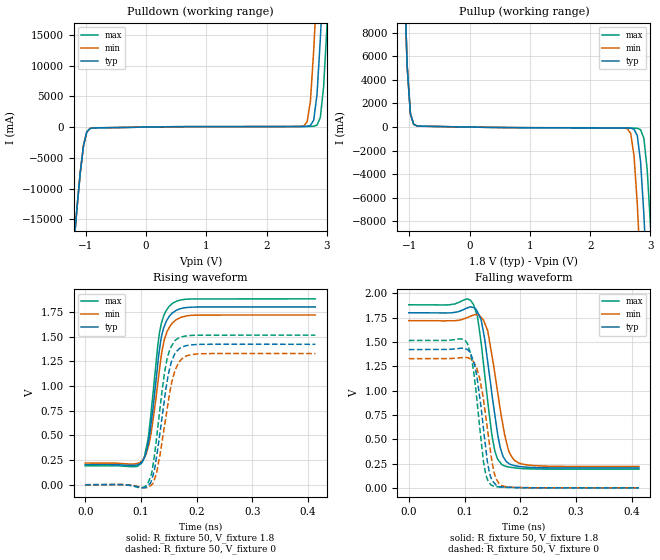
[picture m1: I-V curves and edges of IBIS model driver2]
| IBIS file invchain_stage4_tr20ps.ibs created by PYS2IBIS3
| Missouri S&T EMC Lab
[IBIS Ver] 7.1
[File Name] invchain_stage4_tr20ps.ibs
[File Rev] 1.0
[Date] Jul 27, 2026
[Source] inv_chain variant 'stage4' -- four stages, same final drive
[Notes] Parameter selection; sim_time=4.129e-10, tr=tf=2.000e-11.
[Component] invchain
[Manufacturer] s2ibispy study
[Package]
| variable   typ   min   max
R_pkg 0 NA NA
L_pkg 0H NA NA
C_pkg 0F NA NA
[Pin]  signal_name   model_name   R_pin   L_pin   C_pin
VSSQ   VSSQ   Gnd
VCCQ   VCCQ   Power
| IN IN dummy
PAD   PAD   driver2
| End of Component
| Models and submodels in the file (1): driver2 (Output)
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[Model] driver2
Model_type Output
Polarity Non-Inverting
Enable Active-High
Vinl  = 0.8V
Vinh  = 2V
C_comp 0.4680pF NA NA
[Temperature Range] 27.0000 27.0000 27.0000
[Voltage Range] 1.8000V 1.7000V 1.9000V
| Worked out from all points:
|   slope of the pulldown table from 0 to 0.27 V, typ, clamps not added: 6.79 ohm
|   slope of the pullup table from 0 to 0.27 V, typ, clamps not added: 12.6 ohm
|   rising waveform, R_fixture 50, V_fixture 1.8: 20-80 % time 20.3ps typ, 21.9ps min, 19ps max; typ from 0.204 V to 1.8 V
|   rising waveform, R_fixture 50, V_fixture 0: 20-80 % time 21.6ps typ, 23.2ps min, 20.3ps max; typ from 0 V to 1.42 V
|   falling waveform, R_fixture 50, V_fixture 1.8: 20-80 % time 23ps typ, 25.5ps min, 20.9ps max; typ from 1.8 V to 0.204 V
|   falling waveform, R_fixture 50, V_fixture 0: 20-80 % time 18.4ps typ, 20.3ps min, 17.3ps max; typ from 1.42 V to 0 V
[Pulldown]
| Voltage   I(typ)   I(min)   I(max)
-1.8V     -87.88A    -87.88A    -87.88A
-1.2V     -19.4A     -19.4A     -19.4A
-1.036V   -2.952A    -2.948A    -2.955A
-927.3mV  -221.8mA   -216.4mA   -227mA
2.618V    95.77mA    193.1mA    97.15mA
2.727V    244.8mA    4.224A     106.4mA
2.782V    1.151A     12.49A     132.5mA
2.836V    5.27A      23.04A     313.7mA
2.891V    14.25A     33.59A     1.533A
2.946V    24.81A     44.15A     6.464A
3V        35.36A     54.71A     16.02A
3.6V      151.5A     170.8A     132.1A
[Pullup]
| Voltage   I(typ)   I(min)   I(max)
-1.8V     151.4A     151.4A     151.4A
-1.091V   14.2A      14.19A     14.2A
-981.8mV  1.13A      1.129A     1.132A
-872.7mV  99.18mA    97.54mA    100.6mA
2.618V    -78.19mA   -142.5mA   -79.21mA
2.727V    -177.2mA   -2.408A    -86.52mA
2.782V    -728.3mA   -6.523A    -104.6mA
2.836V    -2.952A    -12.18A    -222.3mA
2.891V    -7.391A    -18.4A     -950.7mA
2.946V    -13.22A    -24.62A    -3.561A
3V        -19.44A    -30.85A    -8.297A
3.6V      -87.92A    -99.33A    -76.52A
[Ramp]
| variable   typ   min   max
dV/dt_r 0.8532/0.02163n 0.7968/0.02322n 0.9090/0.02024n
dV/dt_f 0.9575/0.02296n 0.8972/0.02473n 1.0171/0.02138n
R_load = 50
[Rising Waveform]
R_fixture = 50
V_fixture = 1.8
|time   V(typ)   V(min)   V(max)
0s        204.2mV    219.5mV    192.2mV
101.7ps   230.9mV    239.9mV    222.7mV
105.8ps   267.7mV    273.9mV    273.3mV
114.5ps   464.1mV    413.3mV    537.9mV
123.2ps   850.7mV    715.3mV    1.008V
133.1ps   1.363V     1.162V     1.537V
142.6ps   1.614V     1.483V     1.732V
156.2ps   1.739V     1.636V     1.836V
193.8ps   1.799V     1.717V     1.881V
412.9ps   1.8V       1.719V     1.882V
[Rising Waveform]
R_fixture = 50
V_fixture = 0
|time   V(typ)   V(min)   V(max)
0s        13.08nV    12.76nV    13.48nV
112ps     -14.11mV   -27.92mV   6.216mV
119.4ps   55.04mV    1.554mV    120.8mV
128.1ps   279.9mV    118.9mV    471.7mV
138ps     696.6mV    438.1mV    956.8mV
146.3ps   1.027V     748.7mV    1.262V
154.6ps   1.244V     1.017V     1.401V
165.3ps   1.358V     1.209V     1.479V
199.6ps   1.42V      1.324V     1.514V
412.9ps   1.422V     1.328V     1.515V
[Falling Waveform]
R_fixture = 50
V_fixture = 1.8
|time   V(typ)   V(min)   V(max)
0s        1.8V       1.719V     1.882V
116.1ps   1.855V     1.777V     1.885V
123.2ps   1.81V      1.781V     1.763V
129.8ps   1.729V     1.753V     1.495V
141.8ps   1.297V     1.609V     884.5mV
154.2ps   754.3mV    1.187V     385.2mV
167ps     361.4mV    708mV      238.7mV
178.5ps   254.2mV    393.6mV    214.5mV
196.7ps   221.1mV    256.7mV    201.1mV
412.9ps   204.2mV    219.5mV    192.2mV
[Falling Waveform]
R_fixture = 50
V_fixture = 0
|time   V(typ)   V(min)   V(max)
0s        1.422V     1.328V     1.515V
105ps     1.422V     1.338V     1.486V
116.1ps   1.3V       1.296V     1.209V
126.9ps   952.9mV    1.134V     649.9mV
133.9ps   614.2mV    913mV      270.3mV
137.6ps   430.9mV    761.6mV    151.6mV
147.5ps   102.2mV    332.8mV    30.03mV
156.6ps   29.04mV    93.58mV    11.98mV
171.9ps   7.595mV    13.91mV    5.578mV
412.9ps   -40.29nV   -240.1nV   63.11nV
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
